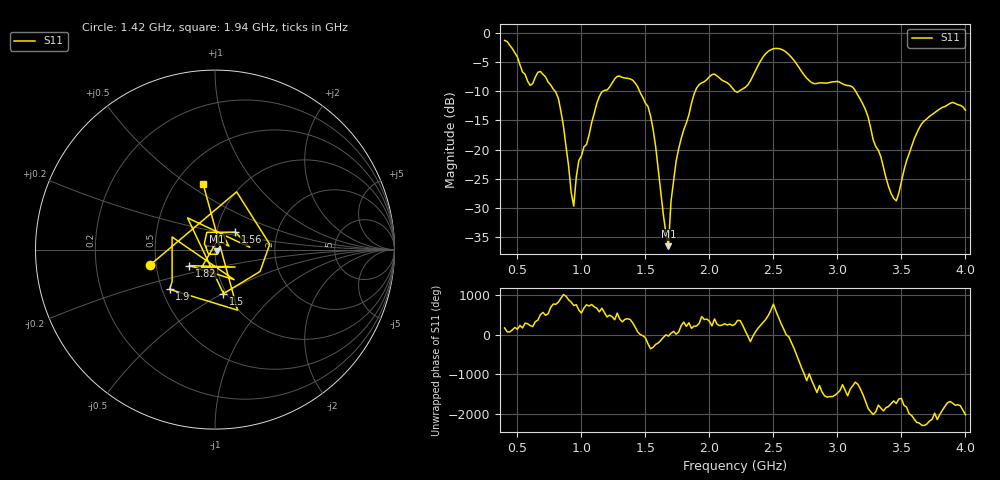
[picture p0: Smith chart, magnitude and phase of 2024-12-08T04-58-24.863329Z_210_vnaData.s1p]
!Created with skrf (http://scikit-rf.org).
# Hz S RI R 50.0
!freq ReS11 ImS11
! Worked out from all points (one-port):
!   181 points, 400 MHz to 4 GHz, reference 50 ohm
!   lowest |S11| = -36.5 dB at 1.68 GHz (marker M1), VSWR 1.03, Z = 51.2 - j0.878 ohm
!   |S11| at or under -10 dB: 793.6 MHz to 1.169 GHz (375.3 MHz wide, 38.2 % of centre); 1.454 GHz to 1.89 GHz (435.4 MHz wide, 26 % of centre); 3.143 GHz to end of sweep (the widest 3 of 4)
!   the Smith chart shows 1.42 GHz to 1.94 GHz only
!   S11 on the Smith chart (normalised r, x): 1.42 GHz: 0.46, -0.09; 1.5 GHz: 0.97, -0.51; 1.56 GHz: 1.23, +0.24; 1.82 GHz: 0.74, -0.14; 1.9 GHz: 0.55, -0.27; 1.94 GHz: 0.68, +0.58
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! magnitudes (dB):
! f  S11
! 400 MHz  -1.3
! 600 MHz  -9.0
! 720 MHz  -7.6
! 820 MHz  -11.2
! 860 MHz  -16.0
! 940 MHz  -29.7
! 980 MHz  -21.9
! 1.12 GHz  -12.1
! 1.3 GHz  -7.4
! 1.42 GHz  -8.6
! 1.5 GHz  -12.0
! 1.56 GHz  -16.5
! 1.68 GHz  -36.5
! 1.7 GHz  -28.8
! 1.76 GHz  -19.8
! 1.82 GHz  -15.4
! 1.9 GHz  -9.5
! 1.94 GHz  -8.6
! 2.2 GHz  -10.0
! 2.48 GHz  -2.9
! 2.66 GHz  -4.7
! 2.8 GHz  -8.6
! 3.1 GHz  -9.1
! 3.22 GHz  -13.2
! 3.44 GHz  -28.4
! 3.56 GHz  -20.7
! 3.72 GHz  -14.3
! 4 GHz  -13.3
